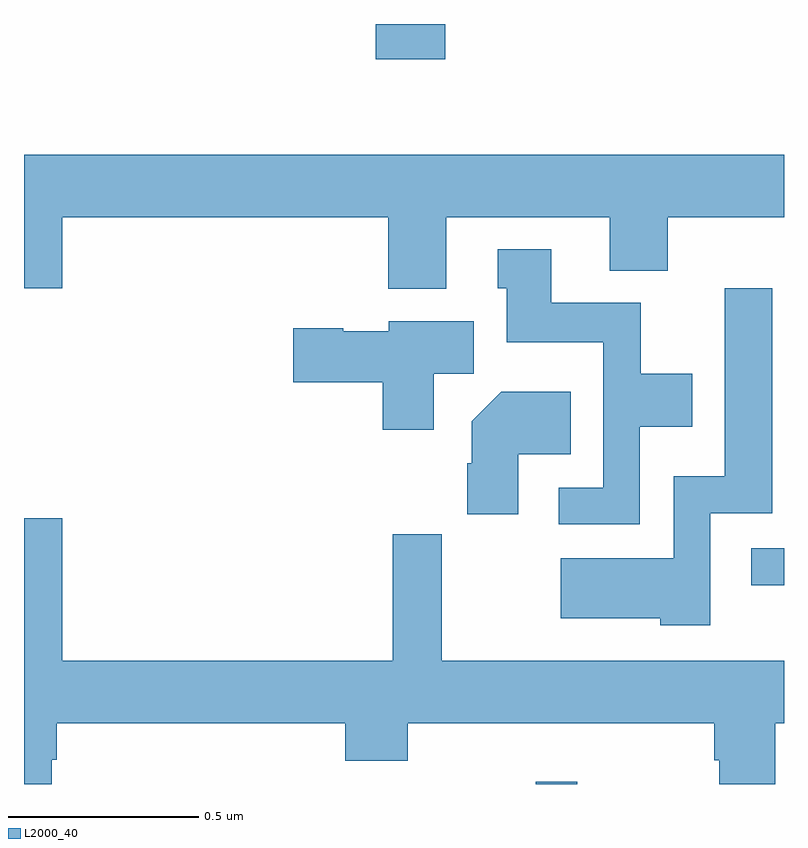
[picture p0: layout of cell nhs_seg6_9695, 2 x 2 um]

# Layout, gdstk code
import gdstk
lib = gdstk.Library(unit=1e-6, precision=1e-09)
def R(c, l, rs):  # rectangles x0, y0, x1, y1
    for r in rs: c.add(gdstk.rectangle(r[:2], r[2:], *l))
def P(c, l, *ps):  # polygons
    for p in ps: c.add(gdstk.Polygon(p, *l))
L2000_40 = (2000, 40)

nhs_seg6_9695 = lib.new_cell('nhs_seg6_9695')
R(nhs_seg6_9695, L2000_40, [(238.347,956.5,238.456,956.506), (238.914,957.023,239,957.12), (237.926,958.407,238.109,958.5)])
P(nhs_seg6_9695, L2000_40, [(238.111,957.992),(238.541,957.992),(238.541,957.851),(238.694,957.851),(238.694,957.992),(239,957.992),(239,958.156),(237,958.156),(237,957.804),(237.1,957.804),(237.1,957.992),(237.959,957.992),(237.959,957.803),(238.111,957.803)],
  [(238.62,957.44),(238.759,957.44),(238.759,957.58),(238.623,957.58),(238.623,957.766),(238.387,957.766),(238.387,957.907),(238.247,957.907),(238.247,957.804),(238.271,957.804),(238.271,957.662),(238.524,957.662),(238.524,957.279),(238.407,957.279),(238.407,957.183),(238.62,957.183)],
  [(238.806,957.213),(238.969,957.213),(238.969,957.805),(238.844,957.805),(238.844,957.31),(238.71,957.31),(238.71,957.094),(238.413,957.094),(238.413,956.936),(238.674,956.936),(238.674,956.918),(238.806,956.918)],
  [(238.078,957.58),(238.183,957.58),(238.183,957.718),(237.96,957.718),(237.96,957.691),(237.84,957.691),(237.84,957.699),(237.708,957.699),(237.708,957.557),(237.944,957.557),(237.944,957.432),(238.078,957.432)],
  [(238.3,957.368),(238.439,957.368),(238.439,957.532),(238.256,957.532),(238.178,957.454),(238.178,957.344),(238.166,957.344),(238.166,957.21),(238.3,957.21)],
  [(237.073,956.564),(237.086,956.564),(237.086,956.66),(237.845,956.66),(237.845,956.561),(238.01,956.561),(238.01,956.66),(238.817,956.66),(238.817,956.562),(238.829,956.562),(238.829,956.5),(238.977,956.5),(238.977,956.66),(239,956.66),(239,956.824),(238.099,956.824),(238.099,957.157),(237.97,957.157),(237.97,956.824),(237.1,956.824),(237.1,957.199),(237,957.199),(237,956.5),(237.073,956.5)])

lib.write_gds('nhs_seg6_9695.gds')
